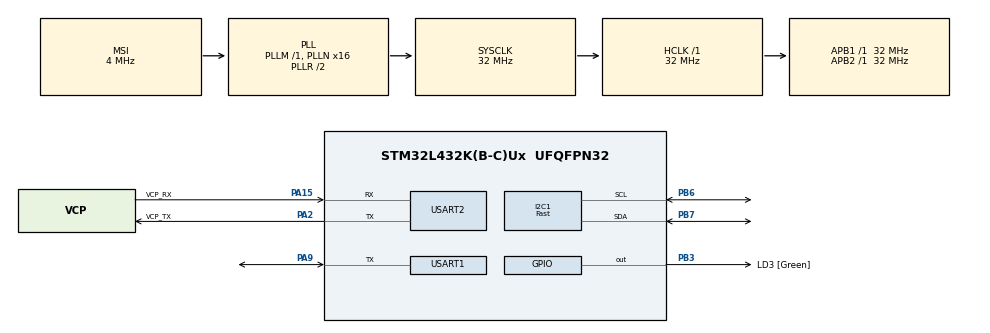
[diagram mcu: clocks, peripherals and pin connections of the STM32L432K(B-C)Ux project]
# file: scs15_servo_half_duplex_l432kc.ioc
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I2C1.I2C_Speed_Mode=I2C_Fast
I2C1.Timing=0x0060112F
Mcu.Family=STM32L4
Mcu.Name=STM32L432K(B-C)Ux
Mcu.Package=UFQFPN32
NVIC.PriorityGroup=NVIC_PRIORITYGROUP_4
PA0.GPIO_Label=MCO [High speed clock in]
PA0.Mode=HSE-External-Clock-Source-for-LittleOrca
PA0.Signal=RCC_CK_IN
PA13\ (JTMS-SWDIO).GPIO_Label=SWDIO
PA13\ (JTMS-SWDIO).Mode=Serial_Wire
PA13\ (JTMS-SWDIO).Signal=SYS_JTMS-SWDIO
PA14\ (JTCK-SWCLK).GPIO_Label=SWCLK
PA14\ (JTCK-SWCLK).Mode=Serial_Wire
PA14\ (JTCK-SWCLK).Signal=SYS_JTCK-SWCLK
PA15\ (JTDI).GPIO_Label=VCP_RX
PA15\ (JTDI).Mode=Asynchronous
PA15\ (JTDI).Signal=USART2_RX
PA2.GPIO_Label=VCP_TX
PA2.Mode=Asynchronous
PA2.Signal=USART2_TX
PA9.GPIO_Speed=GPIO_SPEED_FREQ_HIGH
PA9.Mode=Half_duplex(single_wire_mode)
PA9.Signal=USART1_TX
PB3\ (JTDO-TRACESWO).GPIO_Label=LD3 [Green]
PB3\ (JTDO-TRACESWO).Signal=GPIO_Output
PB6.Mode=I2C
PB6.Signal=I2C1_SCL
PB7.Mode=I2C
PB7.Signal=I2C1_SDA
PC14-OSC32_IN\ (PC14).Mode=LSE-External-Oscillator
PC14-OSC32_IN\ (PC14).Signal=RCC_OSC32_IN
PC15-OSC32_OUT\ (PC15).Mode=LSE-External-Oscillator
PC15-OSC32_OUT\ (PC15).Signal=RCC_OSC32_OUT
ProjectManager.HeapSize=0x200
ProjectManager.StackSize=0x400
ProjectManager.TargetToolchain=STM32CubeIDE
RCC.AHBFreq_Value=32000000
RCC.APB1Freq_Value=32000000
RCC.APB1TimFreq_Value=32000000
RCC.APB2Freq_Value=32000000
RCC.APB2TimFreq_Value=32000000
RCC.CortexFreq_Value=32000000
RCC.HCLKFreq_Value=32000000
RCC.HSE_VALUE=8000000
RCC.HSI16_VALUE=16000000
RCC.HSI48_VALUE=48000000
RCC.HSI_VALUE=16000000
RCC.MSI_VALUE=4000000
RCC.PLLMUL=RCC_PLLMUL_4
RCC.PLLN=16
RCC.SYSCLKFreq_VALUE=32000000
RCC.SYSCLKSource=RCC_SYSCLKSOURCE_PLLCLK
RCC.VCOOutputFreq_Value=64000000
USART1.BaudRate=1000000
USART1.OverSampling=UART_OVERSAMPLING_8
USART1.VirtualMode-Half_duplex(single_wire_mode)=VM_ASYNC
USART2.VirtualMode-Asynchronous=VM_ASYNC
board=NUCLEO-L432KC

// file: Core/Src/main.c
/* USER CODE BEGIN Header */
/**
 ******************************************************************************
 * @file           : main.c
 * @brief          : Main program body
 ******************************************************************************
 * @attention
 *
 * Copyright (c) 2024 STMicroelectronics.
 * All rights reserved.
 *
 * This software is licensed under terms that can be found in the LICENSE file
 * in the root directory of this software component.
 * If no LICENSE file comes with this software, it is provided AS-IS.
 *
 ******************************************************************************
 */
/* USER CODE END Header */
#include "main.h"
#include "i2c.h"
#include "usart.h"
#include "gpio.h"

/* USER CODE BEGIN Includes */
#include <stdio.h>
#include <stdlib.h>
#include <string.h>
#include "scs15_servo.h"
#include "ssd1306.h"

/* USER CODE END Includes */

/* USER CODE BEGIN PD */
#define SCS15_ID 4
#define REFRESH_RATE 2000 // ms
/* USER CODE END PD */

/* USER CODE BEGIN PV */
uint32_t softTimerOLED;
uint8_t change_position_flag;
uint8_t drive_internal_temperature;
uint8_t drive_supply_voltage;
uint16_t ref_position;
char lcd_line[32];
/* USER CODE END PV */

void SystemClock_Config(void);

int main(void)
{

  /* MCU Configuration--------------------------------------------------------*/

  /* Reset of all peripherals, Initializes the Flash interface and the Systick. */
  HAL_Init();

  /* Configure the system clock */
  SystemClock_Config();

  /* Initialize all configured peripherals */
  MX_GPIO_Init();
  MX_USART2_UART_Init();
  MX_USART1_UART_Init();
  MX_I2C1_Init();
  /* USER CODE BEGIN 2 */

	ssd1306_Init();
	ssd1306_Fill(Black);
	ssd1306_SetCursor(20, 2);
	ssd1306_WriteString("ufnalski.edu.pl", Font_6x8, White);
	ssd1306_SetCursor(17, 15);
	ssd1306_WriteString("Half-duplex UART", Font_6x8, White);
	ssd1306_SetCursor(17, 25);
	ssd1306_WriteString("SCS15 servo demo", Font_6x8, White);
	ssd1306_UpdateScreen();

	softTimerOLED = HAL_GetTick();

	SCS15SetBaudrate(SCS15_ID, 115200);
	MX_USART1_UART_Init_115200();

	SCS15SetSilentMode(SCS15_ID);
//	SCS15SetNonSilentMode(SCS15_ID);

	SCS15SetMotorMode(SCS15_ID);

	SCS15SetSpeed(SCS15_ID, 500);

	HAL_Delay(5000);

	SCS15SetSpeed(SCS15_ID, -500);

	HAL_Delay(5000);

	SCS15SetSpeed(SCS15_ID, 0);

	HAL_Delay(2000);

	SCS15SetServoMode(SCS15_ID);

  /* USER CODE END 2 */

  /* Infinite loop */
  /* USER CODE BEGIN WHILE */
	while (1)
	{

		if ((HAL_GetTick() - softTimerOLED) > REFRESH_RATE)
		{
			softTimerOLED = HAL_GetTick();
			change_position_flag = change_position_flag == 0 ? 1 : 0; // toggle the flag
			SCS15ReadTemperature(SCS15_ID, &drive_internal_temperature);
			SCS15ReadVoltage(SCS15_ID, &drive_supply_voltage);

			ssd1306_SetCursor(10, 36);
			sprintf(lcd_line, "Temp.: %u deg. C", drive_internal_temperature);
			ssd1306_WriteString(lcd_line, Font_6x8, White);
			ssd1306_SetCursor(10, 46);
			sprintf(lcd_line, "Voltage: %.1f V",
					((float) drive_supply_voltage) / 10.0);
			ssd1306_WriteString(lcd_line, Font_6x8, White);

			if (0 == change_position_flag)
			{
				ref_position = 0;
			}
			else
			{
				ref_position = 512;  // resolution 180 degrees / 1024
			}
			SCS15TurnToPosition(SCS15_ID, ref_position, 0, 1000);

			ssd1306_SetCursor(10, 56);
			sprintf(lcd_line, "Ref. pos.: %lu deg  ",
					(((uint32_t) ref_position) * 180) / 1024);
			ssd1306_WriteString(lcd_line, Font_6x8, White);
			ssd1306_UpdateScreen();
		}
    /* USER CODE END WHILE */

	}
}

void SystemClock_Config(void)
{
  RCC_OscInitTypeDef RCC_OscInitStruct = {0};
  RCC_ClkInitTypeDef RCC_ClkInitStruct = {0};

  /** Configure the main internal regulator output voltage
  */
  if (HAL_PWREx_ControlVoltageScaling(PWR_REGULATOR_VOLTAGE_SCALE1) != HAL_OK)
  {
    Error_Handler();
  }

  /** Configure LSE Drive Capability
  */
  HAL_PWR_EnableBkUpAccess();
  __HAL_RCC_LSEDRIVE_CONFIG(RCC_LSEDRIVE_LOW);

  /** Initializes the RCC Oscillators according to the specified parameters
  * in the RCC_OscInitTypeDef structure.
  */
  RCC_OscInitStruct.OscillatorType = RCC_OSCILLATORTYPE_LSE|RCC_OSCILLATORTYPE_MSI;
  RCC_OscInitStruct.LSEState = RCC_LSE_ON;
  RCC_OscInitStruct.MSIState = RCC_MSI_ON;
  RCC_OscInitStruct.MSICalibrationValue = 0;
  RCC_OscInitStruct.MSIClockRange = RCC_MSIRANGE_6;
  RCC_OscInitStruct.PLL.PLLState = RCC_PLL_ON;
  RCC_OscInitStruct.PLL.PLLSource = RCC_PLLSOURCE_MSI;
  RCC_OscInitStruct.PLL.PLLM = 1;
  RCC_OscInitStruct.PLL.PLLN = 16;
  RCC_OscInitStruct.PLL.PLLP = RCC_PLLP_DIV7;
  RCC_OscInitStruct.PLL.PLLQ = RCC_PLLQ_DIV2;
  RCC_OscInitStruct.PLL.PLLR = RCC_PLLR_DIV2;
  if (HAL_RCC_OscConfig(&RCC_OscInitStruct) != HAL_OK)
  {
    Error_Handler();
  }

  /** Initializes the CPU, AHB and APB buses clocks
  */
  RCC_ClkInitStruct.ClockType = RCC_CLOCKTYPE_HCLK|RCC_CLOCKTYPE_SYSCLK
                              |RCC_CLOCKTYPE_PCLK1|RCC_CLOCKTYPE_PCLK2;
  RCC_ClkInitStruct.SYSCLKSource = RCC_SYSCLKSOURCE_PLLCLK;
  RCC_ClkInitStruct.AHBCLKDivider = RCC_SYSCLK_DIV1;
  RCC_ClkInitStruct.APB1CLKDivider = RCC_HCLK_DIV1;
  RCC_ClkInitStruct.APB2CLKDivider = RCC_HCLK_DIV1;

  if (HAL_RCC_ClockConfig(&RCC_ClkInitStruct, FLASH_LATENCY_1) != HAL_OK)
  {
    Error_Handler();
  }

  /** Enable MSI Auto calibration
  */
  HAL_RCCEx_EnableMSIPLLMode();
}

void Error_Handler(void)
{
	__disable_irq();
	while (1)
	{
	}
}
